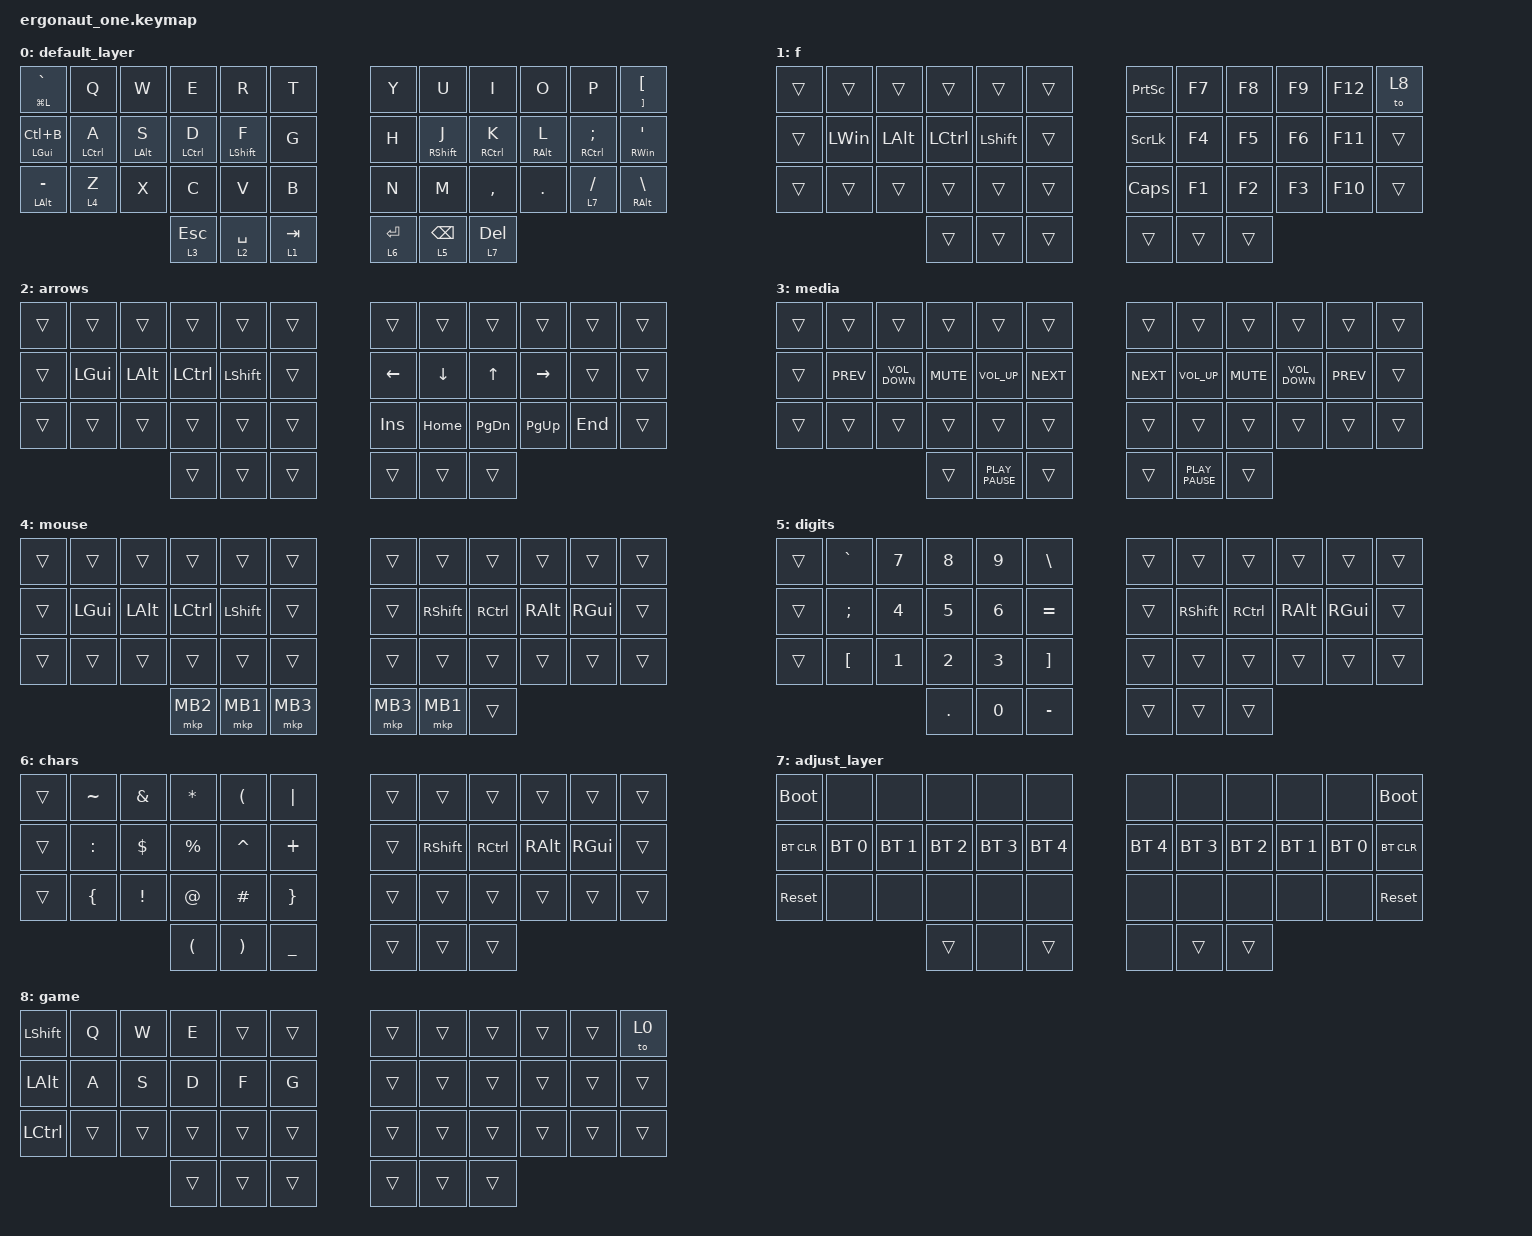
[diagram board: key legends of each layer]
#include <behaviors.dtsi>
#include <dt-bindings/zmk/bt.h>
#include <dt-bindings/zmk/keys.h>
#include <dt-bindings/zmk/mouse.h>

#define DEF 0
#define LWR 1
#define RSE 2
#define ADJ 3

&lt { quick-tap-ms = <200>; };

&mt {
    quick-tap-ms = <200>;
    flavor = "tap-preferred";
    tapping-term-ms = <250>;
};

/ {
    conditional_layers { compatible = "zmk,conditional-layers"; };

    keymap {
        compatible = "zmk,keymap";

        default_layer {
            bindings = <
&mt LG(L) GRAVE     &kp Q        &kp W           &kp E         &kp R             &kp T      &kp Y        &kp U         &kp I         &kp O            &kp P                &mt RBKT LBKT
&mt LEFT_GUI LC(B)  &mt LCTRL A  &mt LEFT_ALT S  &mt LCTRL D   &mt LEFT_SHIFT F  &kp G      &kp H        &mt RSHIFT J  &mt RCTRL K   &mt RIGHT_ALT L  &mt RCTRL SEMICOLON  &mt RWIN SINGLE_QUOTE
&mt LALT MINUS      &lt 4 Z      &kp X           &kp C         &kp V             &kp B      &kp N        &kp M         &kp COMMA     &kp DOT          &lt 7 SLASH          &mt RALT BSLH
                                                 &lt 3 ESCAPE  &lt 2 SPACE       &lt 1 TAB  &lt 6 ENTER  &lt 5 BSPC    &lt 7 DELETE
            >;
        };

        f {
            bindings = <
&trans  &trans    &trans    &trans     &trans      &trans  &kp PRINTSCREEN  &kp F7  &kp F8  &kp F9  &kp F12  &to 8
&trans  &kp LWIN  &kp LALT  &kp LCTRL  &kp LSHIFT  &trans  &kp SCROLLLOCK   &kp F4  &kp F5  &kp F6  &kp F11  &trans
&trans  &trans    &trans    &trans     &trans      &trans  &kp CLCK         &kp F1  &kp F2  &kp F3  &kp F10  &trans
                            &trans     &trans      &trans  &trans           &trans  &trans
            >;
        };

        arrows {
            bindings = <
&trans  &trans    &trans    &trans     &trans     &trans  &trans          &trans          &trans         &trans       &trans   &trans
&trans  &kp LGUI  &kp LALT  &kp LCTRL  &kp LSHFT  &trans  &kp LEFT_ARROW  &kp DOWN_ARROW  &kp UP_ARROW   &kp RIGHT    &trans   &trans
&trans  &trans    &trans    &trans     &trans     &trans  &kp INSERT      &kp HOME        &kp PAGE_DOWN  &kp PAGE_UP  &kp END  &trans
                            &trans     &trans     &trans  &trans          &trans          &trans
            >;
        };

        media {
            bindings = <
&trans  &trans      &trans             &trans      &trans            &trans      &trans      &trans            &trans      &trans             &trans      &trans
&trans  &kp K_PREV  &kp K_VOLUME_DOWN  &kp K_MUTE  &kp K_VOLUME_UP   &kp K_NEXT  &kp K_NEXT  &kp K_VOLUME_UP   &kp K_MUTE  &kp K_VOLUME_DOWN  &kp K_PREV  &trans
&trans  &trans      &trans             &trans      &trans            &trans      &trans      &trans            &trans      &trans             &trans      &trans
                                       &trans      &kp K_PLAY_PAUSE  &trans      &trans      &kp K_PLAY_PAUSE  &trans
            >;
        };

        mouse {
            bindings = <
&trans  &trans    &trans    &trans     &trans     &trans    &trans    &trans     &trans     &trans    &trans    &trans
&trans  &kp LGUI  &kp LALT  &kp LCTRL  &kp LSHFT  &trans    &trans    &kp RSHFT  &kp RCTRL  &kp RALT  &kp RGUI  &trans
&trans  &trans    &trans    &trans     &trans     &trans    &trans    &trans     &trans     &trans    &trans    &trans
                            &mkp MB2   &mkp MB1   &mkp MB3  &mkp MB3  &mkp MB1   &trans
            >;
        };

        digits {
            bindings = <
&trans  &kp GRAVE  &kp N7  &kp N8   &kp N9  &kp BSLH   &trans  &trans     &trans     &trans    &trans    &trans
&trans  &kp SEMI   &kp N4  &kp N5   &kp N6  &kp EQUAL  &trans  &kp RSHFT  &kp RCTRL  &kp RALT  &kp RGUI  &trans
&trans  &kp LBKT   &kp N1  &kp N2   &kp N3  &kp RBKT   &trans  &trans     &trans     &trans    &trans    &trans
                           &kp DOT  &kp N0  &kp MINUS  &trans  &trans     &trans
            >;
        };

        chars {
            bindings = <
&trans  &kp TILDE       &kp AMPS    &kp ASTERISK          &kp LEFT_PARENTHESIS   &kp PIPE         &trans  &trans     &trans     &trans    &trans    &trans
&trans  &kp COLON       &kp DOLLAR  &kp PERCENT           &kp CARET              &kp PLUS         &trans  &kp RSHFT  &kp RCTRL  &kp RALT  &kp RGUI  &trans
&trans  &kp LEFT_BRACE  &kp EXCL    &kp AT                &kp HASH               &kp RIGHT_BRACE  &trans  &trans     &trans     &trans    &trans    &trans
                                    &kp LEFT_PARENTHESIS  &kp RIGHT_PARENTHESIS  &kp UNDER        &trans  &trans     &trans
            >;
        };

        adjust_layer {
            bindings = <
&bootloader  &none         &none         &none         &none         &none         &none         &none         &none         &none         &none         &bootloader
&bt BT_CLR   &bt BT_SEL 0  &bt BT_SEL 1  &bt BT_SEL 2  &bt BT_SEL 3  &bt BT_SEL 4  &bt BT_SEL 4  &bt BT_SEL 3  &bt BT_SEL 2  &bt BT_SEL 1  &bt BT_SEL 0  &bt BT_CLR
&sys_reset   &none         &none         &none         &none         &none         &none         &none         &none         &none         &none         &sys_reset
                                         &trans        &none         &trans        &none         &trans        &trans
            >;
        };

        game {
            bindings = <
&kp LEFT_SHIFT  &kp Q   &kp W   &kp E   &trans  &trans  &trans  &trans  &trans  &trans  &trans  &to 0
&kp LEFT_ALT    &kp A   &kp S   &kp D   &kp F   &kp G   &trans  &trans  &trans  &trans  &trans  &trans
&kp LCTRL       &trans  &trans  &trans  &trans  &trans  &trans  &trans  &trans  &trans  &trans  &trans
                                &trans  &trans  &trans  &trans  &trans  &trans
            >;
        };
    };
};
